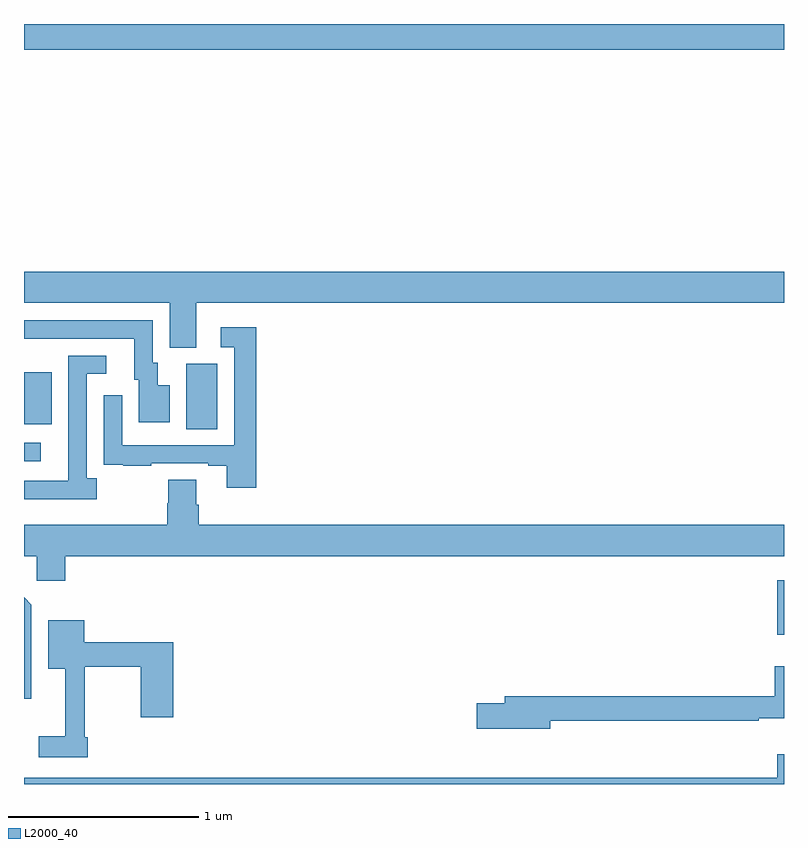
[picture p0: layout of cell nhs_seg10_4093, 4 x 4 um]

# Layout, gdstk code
import gdstk
lib = gdstk.Library(unit=1e-6, precision=1e-09)
def R(c, l, rs):  # rectangles x0, y0, x1, y1
    for r in rs: c.add(gdstk.rectangle(r[:2], r[2:], *l))
def P(c, l, *ps):  # polygons
    for p in ps: c.add(gdstk.Polygon(p, *l))
L2000_40 = (2000, 40)

nhs_seg10_4093 = lib.new_cell('nhs_seg10_4093')
R(nhs_seg10_4093, L2000_40, [(342.965,1249.286,343,1249.573), (339,1250.199,339.088,1250.295), (339.854,1250.368,340.018,1250.712), (339,1250.393,339.145,1250.668), (339,1252.364,343,1252.5)])
P(nhs_seg10_4093, L2000_40, [(339.907,1251.032),(343,1251.032),(343,1251.196),(339,1251.196),(339,1251.032),(339.767,1251.032),(339.767,1250.797),(339.907,1250.797)],
  [(339.766,1250.599),(339.703,1250.599),(339.703,1250.718),(339.678,1250.718),(339.678,1250.94),(339,1250.94),(339,1250.844),(339.581,1250.844),(339.581,1250.628),(339.605,1250.628),(339.605,1250.403),(339.766,1250.403)],
  [(340.223,1250.905),(340.035,1250.905),(340.035,1250.799),(340.107,1250.799),(340.107,1250.283),(339.516,1250.283),(339.516,1250.545),(339.42,1250.545),(339.42,1250.29),(339.421,1250.29),(339.421,1250.181),(339.523,1250.181),(339.523,1250.175),(339.671,1250.175),(339.671,1250.187),(339.971,1250.187),(339.971,1250.175),(340.067,1250.175),(340.067,1250.058),(340.223,1250.058)],
  [(339.382,1250.11),(339.33,1250.11),(339.33,1250.658),(339.433,1250.658),(339.433,1250.754),(339.234,1250.754),(339.234,1250.297),(339.233,1250.297),(339.233,1250.097),(339,1250.097),(339,1250),(339.382,1250)],
  [(339.218,1249.7),(343,1249.7),(343,1249.864),(339.92,1249.864),(339.92,1249.97),(339.907,1249.97),(339.907,1250.102),(339.76,1250.102),(339.76,1249.977),(339.755,1249.977),(339.755,1249.864),(339,1249.864),(339,1249.7),(339.066,1249.7),(339.066,1249.569),(339.218,1249.569)],
  [(339.039,1249.443),(339,1249.482),(339,1248.948),(339.039,1248.948)],
  [(339.335,1248.745),(339.32,1248.745),(339.32,1249.117),(339.614,1249.117),(339.614,1248.852),(339.785,1248.852),(339.785,1249.246),(339.316,1249.246),(339.316,1249.363),(339.128,1249.363),(339.128,1249.106),(339.218,1249.106),(339.218,1248.751),(339.078,1248.751),(339.078,1248.642),(339.335,1248.642)],
  [(341.77,1248.834),(342.866,1248.834),(342.866,1248.845),(343,1248.845),(343,1249.12),(342.95,1249.12),(342.95,1248.962),(341.531,1248.962),(341.531,1248.926),(341.382,1248.926),(341.382,1248.791),(341.77,1248.791)],
  [(343,1248.656),(342.965,1248.656),(342.965,1248.532),(339,1248.532),(339,1248.5),(343,1248.5)])

lib.write_gds('nhs_seg10_4093.gds')
